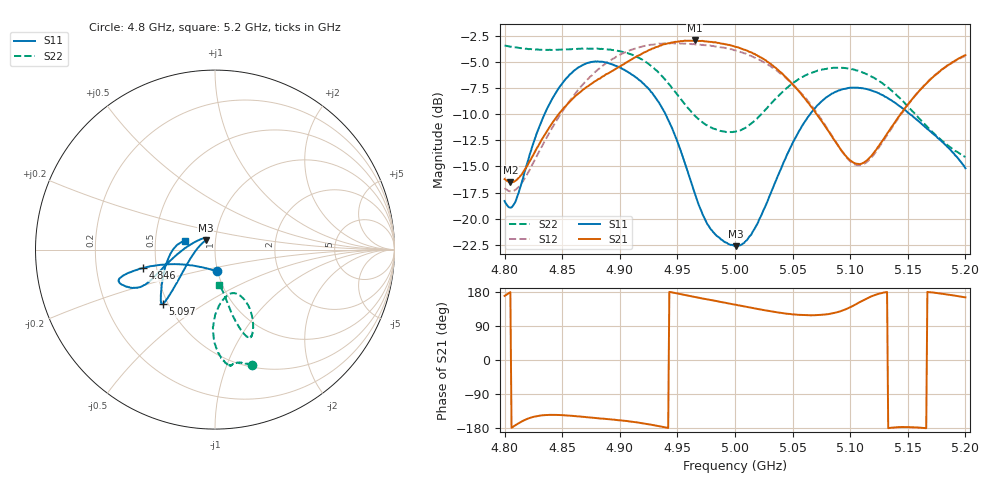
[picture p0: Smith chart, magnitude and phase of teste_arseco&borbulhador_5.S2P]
! Network Analyzer HP8722D
! Hewlett-Packard
! Data name: Linha & Wilkinson
! Saver's name: Rodrigo Anjos
! Comments: Teste da utilização de aquisição
! continua pelo VNA HP8722D
! Time and date: 15/4/2025 15:40
!  Frequency  S11  S21  S12  S22
# HZ  S  MA R 50
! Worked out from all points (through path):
!   401 points, 4.8 GHz to 5.2 GHz, reference 50 ohm
!   highest |S21| = -2.95 dB at 4.965 GHz (marker M1); lowest = -16.5 dB at 4.805 GHz (marker M2)
!   lowest |S11| = -22.6 dB at 5.001 GHz (marker M3), VSWR 1.16, Z = 44.9 + j4.79 ohm
!   |S11| at or under -10 dB: start of sweep to 4.835 GHz; 4.94 GHz to 5.065 GHz (125.6 MHz wide, 2.51 % of centre); 5.152 GHz to end of sweep
!   |S22| runs from -14.1 to -3.4 dB; largest |S21 - S12| = 0.82
!   S11 on the Smith chart (normalised r, x): 4.8 GHz: 0.99, -0.24; 4.846 GHz: 0.42, -0.10; 5.097 GHz: 0.47, -0.34; 5.2 GHz: 0.71, +0.07
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4.8e9  0.1214 -84.8  0.1546 169.1  0.1401 -136.3  0.6722 -72.4
4.805e9  0.1128 -105.7  0.1493 178.9  0.1352 -126.3  0.6645 -73.5
4.816e9  0.1562 -145.8  0.1668 -160.3  0.1515 -104.8  0.6526 -75.7
4.83e9  0.2742 -162.6  0.227 -147.1  0.2096 -89.6  0.6428 -78.3
4.846e9  0.4124 -165.6  0.3112 -145.0  0.3006 -84.9  0.6422 -80.1
4.867e9  0.5401 -163.9  0.4091 -149.7  0.4329 -87.5  0.6517 -81.9
4.9e9  0.5286 -156.9  0.5348 -159.1  0.608 -99.0  0.6328 -84.9
4.917e9  0.4596 -153.3  0.6065 -165.7  0.6612 -106.6  0.5865 -87.6
4.934e9  0.3591 -156.6  0.6683 -174.6  0.6881 -114.3  0.4972 -90.8
4.947e9  0.2577 -166.0  0.6987 177.5  0.6899 -120.0  0.411 -91.0
4.965e9  0.1327 165.7  0.712 166.2  0.6822 -128.0  0.3113 -85.7
4.98e9  0.08784 133.0  0.7006 157.7  0.6695 -134.8  0.2718 -77.9
5e9  0.07434 132.5  0.6644 146.0  0.639 -144.2  0.2605 -68.4
5.001e9  0.07386 134.0  0.6631 145.7  0.6364 -144.7  0.2617 -68.1
5.015e9  0.08593 163.6  0.6209 137.5  0.5968 -151.3  0.2878 -61.8
5.033e9  0.1405 -161.5  0.5393 127.5  0.5264 -159.0  0.3634 -59.2
5.067e9  0.3257 -136.3  0.339 118.2  0.3446 -166.2  0.4992 -65.1
5.097e9  0.4195 -134.0  0.1972 135.2  0.1959 -147.7  0.5242 -69.3
5.113e9  0.4184 -136.0  0.1873 160.2  0.1842 -120.8  0.4949 -71.1
5.134e9  0.3728 -143.3  0.2641 -179.4  0.2603 -98.0  0.4187 -73.9
5.165e9  0.2749 -166.1  0.437 -179.9  0.4386 -96.5  0.2819 -77.4
5.2e9  0.1742 164.2  0.6054 165.3  0.6016 -108.8  0.1972 -82.9
